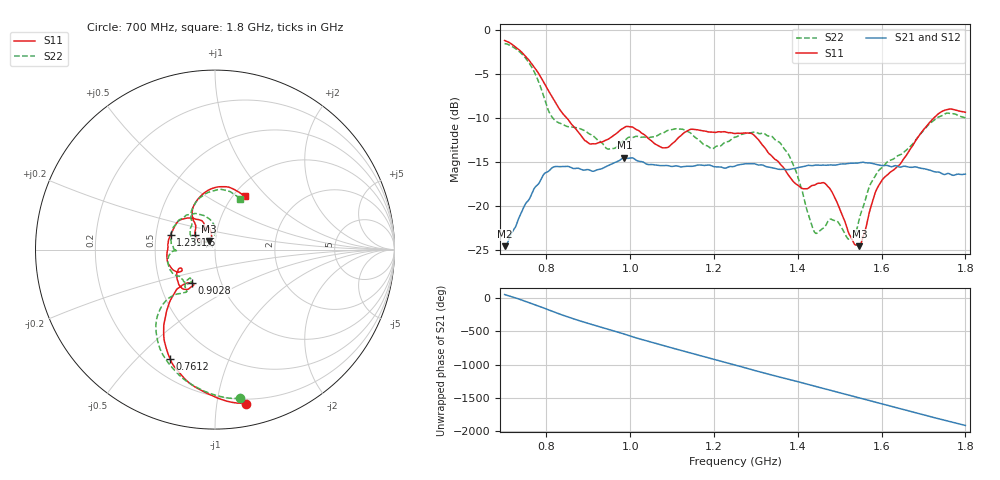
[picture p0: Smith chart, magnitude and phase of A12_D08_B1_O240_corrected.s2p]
! Created with skrf 1.9.0 (http://scikit-rf.org).
# Hz S RI R 50.0
!freq ReS11 ImS11 ReS21 ImS21 ReS12 ImS12 ReS22 ImS22
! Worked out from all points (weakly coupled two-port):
!   1601 points, 700 MHz to 1.8 GHz, reference 50 ohm
!   highest |S21| = -14.50 dB at 986 MHz (marker M1); lowest = -24.6 dB at 700 MHz (marker M2)
!   lowest |S11| = -24.6 dB at 1.547 GHz (marker M3), VSWR 1.13, Z = 46.5 + j4.47 ohm
!   |S11| at or under -10 dB: 848.9 MHz to 1.724 GHz (875.5 MHz wide, 68 % of centre)
!   |S22| runs from -23.8 to -1.5 dB; largest |S21 - S12| = 0.0037
!   S11 on the Smith chart (normalised r, x): 700 MHz: 0.17, -1.21; 761.2 MHz: 0.29, -0.63; 902.8 MHz: 0.73, -0.29; 1.239 GHz: 0.60, +0.11; 1.6 GHz: 0.79, +0.13; 1.8 GHz: 1.13, +0.76
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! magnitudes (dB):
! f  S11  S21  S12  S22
! 700 MHz  -1.2  -24.6  -24.4  -1.5
! 761.2 MHz  -3.6  -19.0  -18.9  -3.9
! 814.8 MHz  -7.7  -15.6  -15.7  -10.0
! 883.6 MHz  -12.1  -15.9  -15.8  -11.3
! 902.8 MHz  -12.9  -15.9  -15.9  -11.8
! 947.5 MHz  -12.4  -15.4  -15.4  -13.5
! 986 MHz  -11.1  -14.5  -14.6  -12.6
! 1.067 GHz  -13.2  -15.4  -15.3  -11.9
! 1.145 GHz  -11.3  -15.5  -15.5  -11.7
! 1.239 GHz  -11.7  -15.5  -15.6  -12.5
! 1.25 GHz  -11.8  -15.5  -15.4  -12.2
! 1.293 GHz  -11.8  -15.2  -15.2  -11.6
! 1.359 GHz  -15.3  -15.8  -15.8  -12.9
! 1.394 GHz  -17.4  -15.7  -15.7  -15.8
! 1.434 GHz  -17.7  -15.4  -15.4  -22.2
! 1.474 GHz  -17.9  -15.3  -15.4  -21.6
! 1.523 GHz  -23.3  -15.2  -15.2  -23.8
! 1.547 GHz  -24.6  -15.1  -15.1  -21.4
! 1.6 GHz  -17.1  -15.4  -15.4  -15.7
! 1.617 GHz  -16.3  -15.5  -15.4  -14.9
! 1.734 GHz  -9.6  -16.1  -16.2  -9.9
! 1.8 GHz  -9.3  -16.4  -16.4  -10.0
